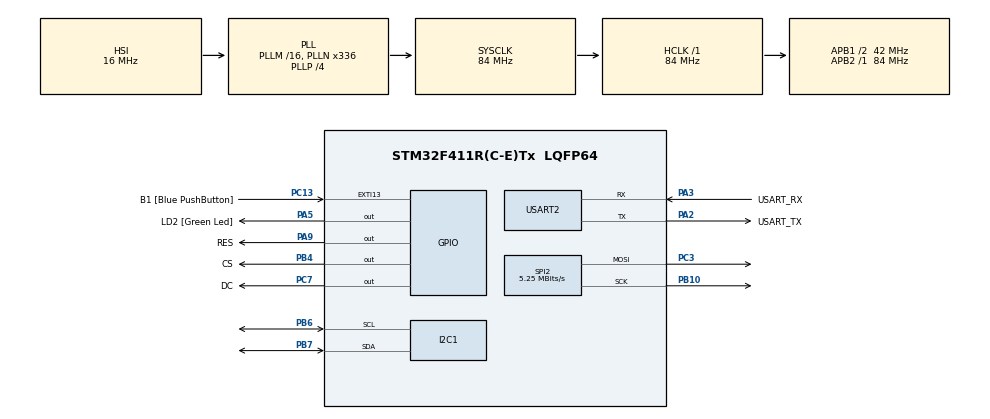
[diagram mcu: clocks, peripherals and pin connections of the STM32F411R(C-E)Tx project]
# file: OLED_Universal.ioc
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Dma.I2C1_TX.0.Direction=DMA_MEMORY_TO_PERIPH
Dma.I2C1_TX.0.FIFOMode=DMA_FIFOMODE_DISABLE
Dma.I2C1_TX.0.Instance=DMA1_Stream1
Dma.I2C1_TX.0.MemDataAlignment=DMA_MDATAALIGN_BYTE
Dma.I2C1_TX.0.MemInc=DMA_MINC_ENABLE
Dma.I2C1_TX.0.Mode=DMA_NORMAL
Dma.I2C1_TX.0.PeriphDataAlignment=DMA_PDATAALIGN_BYTE
Dma.I2C1_TX.0.PeriphInc=DMA_PINC_DISABLE
Dma.I2C1_TX.0.Priority=DMA_PRIORITY_LOW
Dma.Request0=I2C1_TX
Dma.Request1=SPI2_TX
Dma.SPI2_TX.1.Direction=DMA_MEMORY_TO_PERIPH
Dma.SPI2_TX.1.FIFOMode=DMA_FIFOMODE_DISABLE
Dma.SPI2_TX.1.Instance=DMA1_Stream4
Dma.SPI2_TX.1.MemDataAlignment=DMA_MDATAALIGN_BYTE
Dma.SPI2_TX.1.MemInc=DMA_MINC_ENABLE
Dma.SPI2_TX.1.Mode=DMA_NORMAL
Dma.SPI2_TX.1.PeriphDataAlignment=DMA_PDATAALIGN_BYTE
Dma.SPI2_TX.1.PeriphInc=DMA_PINC_DISABLE
Dma.SPI2_TX.1.Priority=DMA_PRIORITY_LOW
I2C1.I2C_Mode=I2C_Fast
Mcu.Family=STM32F4
Mcu.Name=STM32F411R(C-E)Tx
Mcu.Package=LQFP64
NVIC.DMA1_Stream1_IRQn=true\:0\:0\:false\:false\:true\:false\:true\:true
NVIC.DMA1_Stream4_IRQn=true\:0\:0\:false\:false\:true\:false\:true\:true
NVIC.I2C1_EV_IRQn=true\:0\:0\:false\:false\:true\:true\:true\:true
NVIC.PriorityGroup=NVIC_PRIORITYGROUP_0
NVIC.TIM2_IRQn=true\:0\:0\:false\:false\:true\:true\:true\:true
PA13.GPIO_Label=TMS
PA13.Mode=Serial_Wire
PA13.Signal=SYS_JTMS-SWDIO
PA14.GPIO_Label=TCK
PA14.Mode=Serial_Wire
PA14.Signal=SYS_JTCK-SWCLK
PA2.GPIO_Label=USART_TX
PA2.Mode=Asynchronous
PA2.Signal=USART2_TX
PA3.GPIO_Label=USART_RX
PA3.Mode=Asynchronous
PA3.Signal=USART2_RX
PA5.GPIO_Label=LD2 [Green Led]
PA5.Signal=GPIO_Output
PA9.GPIO_Label=RES
PA9.Signal=GPIO_Output
PB10.Mode=TX_Only_Simplex_Unidirect_Master
PB10.Signal=SPI2_SCK
PB3.GPIO_Label=SWO
PB3.Signal=SYS_JTDO-SWO
PB4.GPIO_Label=CS
PB4.Signal=GPIO_Output
PB6.Mode=I2C
PB6.Signal=I2C1_SCL
PB7.Mode=I2C
PB7.Signal=I2C1_SDA
PC13-ANTI_TAMP.GPIO_Label=B1 [Blue PushButton]
PC13-ANTI_TAMP.GPIO_ModeDefaultEXTI=GPIO_MODE_IT_FALLING
PC13-ANTI_TAMP.Signal=GPXTI13
PC14-OSC32_IN.Mode=LSE-External-Oscillator
PC14-OSC32_IN.Signal=RCC_OSC32_IN
PC15-OSC32_OUT.Mode=LSE-External-Oscillator
PC15-OSC32_OUT.Signal=RCC_OSC32_OUT
PC3.Mode=TX_Only_Simplex_Unidirect_Master
PC3.Signal=SPI2_MOSI
PC7.GPIO_Label=DC
PC7.Signal=GPIO_Output
PH0\ -\ OSC_IN.Mode=HSE-External-Clock-Source
PH0\ -\ OSC_IN.Signal=RCC_OSC_IN
PH1\ -\ OSC_OUT.Mode=HSE-External-Clock-Source
PH1\ -\ OSC_OUT.Signal=RCC_OSC_OUT
ProjectManager.HeapSize=0x200
ProjectManager.StackSize=0x400
ProjectManager.TargetToolchain=STM32CubeIDE
RCC.48MHZClocksFreq_Value=84000000
RCC.AHBFreq_Value=84000000
RCC.APB1CLKDivider=RCC_HCLK_DIV2
RCC.APB1Freq_Value=42000000
RCC.APB1TimFreq_Value=84000000
RCC.APB2Freq_Value=84000000
RCC.APB2TimFreq_Value=84000000
RCC.CortexFreq_Value=84000000
RCC.FLatency-AdvancedSettings=FLASH_LATENCY_2
RCC.HCLKFreq_Value=84000000
RCC.HSE_VALUE=8000000
RCC.HSI_VALUE=16000000
RCC.PLLN=336
RCC.PLLP=RCC_PLLP_DIV4
RCC.SYSCLKFreq_VALUE=84000000
RCC.SYSCLKSource=RCC_SYSCLKSOURCE_PLLCLK
RCC.VCOOutputFreq_Value=336000000
SPI2.BaudRatePrescaler=SPI_BAUDRATEPRESCALER_8
SPI2.CLKPhase=SPI_PHASE_2EDGE
SPI2.CLKPolarity=SPI_POLARITY_HIGH
SPI2.CRCCalculation=SPI_CRCCALCULATION_DISABLE
SPI2.CalculateBaudRate=5.25 MBits/s
SPI2.Direction=SPI_DIRECTION_2LINES
SPI2.Mode=SPI_MODE_MASTER
SPI2.VirtualType=VM_MASTER
TIM2.AutoReloadPreload=TIM_AUTORELOAD_PRELOAD_DISABLE
TIM2.Period=65535
TIM2.Prescaler=83
USART2.VirtualMode=VM_ASYNC
VP_TIM2_VS_ClockSourceINT.Mode=Internal
board=NUCLEO-F411RE

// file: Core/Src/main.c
/* USER CODE BEGIN Header */
/**
  ******************************************************************************
  * @file           : main.c
  * @brief          : Main program body
  ******************************************************************************
  * @attention
  *
  * Copyright (c) 2023 STMicroelectronics.
  * All rights reserved.
  *
  * This software is licensed under terms that can be found in the LICENSE file
  * in the root directory of this software component.
  * If no LICENSE file comes with this software, it is provided AS-IS.
  *
  ******************************************************************************
  */
/* USER CODE END Header */
#include "main.h"

/* USER CODE BEGIN Includes */
#include "oled_functions.h"
#include "oled_fonts.h"
#include "oled_bitmaps.h"
/* USER CODE END Includes */

I2C_HandleTypeDef hi2c1;
DMA_HandleTypeDef hdma_i2c1_tx;

SPI_HandleTypeDef hspi2;
DMA_HandleTypeDef hdma_spi2_tx;

TIM_HandleTypeDef htim2;

UART_HandleTypeDef huart2;

void SystemClock_Config(void);
static void MX_GPIO_Init(void);
static void MX_DMA_Init(void);
static void MX_USART2_UART_Init(void);
static void MX_I2C1_Init(void);
static void MX_SPI2_Init(void);
static void MX_TIM2_Init(void);

/* USER CODE BEGIN 0 */
//extern volatile uint8_t flag;
//char c22[20];
//uint16_t ff;
//void HAL_TIM_PeriodElapsedCallback(TIM_HandleTypeDef *htim) {
//
//	if (htim->Instance ==TIM2){
//		if (flag=0){
//			ff=read_TIM2();
//		}
//	}
//}
/* USER CODE END 0 */

int main(void)
{

  /* MCU Configuration--------------------------------------------------------*/

  /* Reset of all peripherals, Initializes the Flash interface and the Systick. */
  HAL_Init();

  /* Configure the system clock */
  SystemClock_Config();

  /* Initialize all configured peripherals */
  MX_GPIO_Init();
  MX_DMA_Init();
  MX_USART2_UART_Init();
  MX_I2C1_Init();
  MX_SPI2_Init();
  MX_TIM2_Init();
  /* USER CODE BEGIN 2 */
  OLED_Init();

  OLED_DrawBitmap(0, 0, &deagle_56x36, 56, 36, OLED_COLOR_WHITE);
  OLED_UpdateScreen();
  HAL_Delay(1000);
  OLED_Clear();
  OLED_UpdateScreen();
  // Testy prędkosci transmisji
  HAL_TIM_Base_Start(&htim2);
  char c[20];
  extern volatile uint8_t dmaTransferComplete;

  OLED_DrawLine(68, 60, 120, 60, OLED_COLOR_WHITE);
  OLED_Putstring(90, 50, "Line", &Arial8_8x10, OLED_COLOR_WHITE);
  OLED_UpdateScreen();

  for (int i = 0; i < 50; ++i) {
	  while (dmaTransferComplete==0){}
	  itoa(i,c,10);
	  OLED_Putstring(90, 30, c, &Arial8_8x10, OLED_COLOR_WHITE);
	  OLED_UpdateScreen();
  }

  for (int i = 0; i < 8; ++i) {
	  if (t1_buff_start[i]<t1_buff_end[i]) {
		  sprintf(c,"%lu\r", t1_buff_end[i]-t1_buff_start[i]);
		  HAL_UART_Transmit(&huart2, c, strlen(c), HAL_MAX_DELAY);
	}else{
		  sprintf(c,"%lu\r", 65535+t1_buff_end[i]-t1_buff_start[i]);
		  HAL_UART_Transmit(&huart2, c, strlen(c), HAL_MAX_DELAY);
	}
  }
  /* USER CODE END 2 */

  /* Infinite loop */
  while (1)
  {

  }
}

void SystemClock_Config(void)
{
  RCC_OscInitTypeDef RCC_OscInitStruct = {0};
  RCC_ClkInitTypeDef RCC_ClkInitStruct = {0};

  /** Configure the main internal regulator output voltage
  */
  __HAL_RCC_PWR_CLK_ENABLE();
  __HAL_PWR_VOLTAGESCALING_CONFIG(PWR_REGULATOR_VOLTAGE_SCALE1);

  /** Initializes the RCC Oscillators according to the specified parameters
  * in the RCC_OscInitTypeDef structure.
  */
  RCC_OscInitStruct.OscillatorType = RCC_OSCILLATORTYPE_HSI;
  RCC_OscInitStruct.HSIState = RCC_HSI_ON;
  RCC_OscInitStruct.HSICalibrationValue = RCC_HSICALIBRATION_DEFAULT;
  RCC_OscInitStruct.PLL.PLLState = RCC_PLL_ON;
  RCC_OscInitStruct.PLL.PLLSource = RCC_PLLSOURCE_HSI;
  RCC_OscInitStruct.PLL.PLLM = 16;
  RCC_OscInitStruct.PLL.PLLN = 336;
  RCC_OscInitStruct.PLL.PLLP = RCC_PLLP_DIV4;
  RCC_OscInitStruct.PLL.PLLQ = 4;
  if (HAL_RCC_OscConfig(&RCC_OscInitStruct) != HAL_OK)
  {
    Error_Handler();
  }

  /** Initializes the CPU, AHB and APB buses clocks
  */
  RCC_ClkInitStruct.ClockType = RCC_CLOCKTYPE_HCLK|RCC_CLOCKTYPE_SYSCLK
                              |RCC_CLOCKTYPE_PCLK1|RCC_CLOCKTYPE_PCLK2;
  RCC_ClkInitStruct.SYSCLKSource = RCC_SYSCLKSOURCE_PLLCLK;
  RCC_ClkInitStruct.AHBCLKDivider = RCC_SYSCLK_DIV1;
  RCC_ClkInitStruct.APB1CLKDivider = RCC_HCLK_DIV2;
  RCC_ClkInitStruct.APB2CLKDivider = RCC_HCLK_DIV1;

  if (HAL_RCC_ClockConfig(&RCC_ClkInitStruct, FLASH_LATENCY_2) != HAL_OK)
  {
    Error_Handler();
  }
}

static void MX_I2C1_Init(void)
{

  hi2c1.Instance = I2C1;
  hi2c1.Init.ClockSpeed = 400000;
  hi2c1.Init.DutyCycle = I2C_DUTYCYCLE_2;
  hi2c1.Init.OwnAddress1 = 0;
  hi2c1.Init.AddressingMode = I2C_ADDRESSINGMODE_7BIT;
  hi2c1.Init.DualAddressMode = I2C_DUALADDRESS_DISABLE;
  hi2c1.Init.OwnAddress2 = 0;
  hi2c1.Init.GeneralCallMode = I2C_GENERALCALL_DISABLE;
  hi2c1.Init.NoStretchMode = I2C_NOSTRETCH_DISABLE;
  if (HAL_I2C_Init(&hi2c1) != HAL_OK)
  {
    Error_Handler();
  }

}

static void MX_SPI2_Init(void)
{

  /* SPI2 parameter configuration*/
  hspi2.Instance = SPI2;
  hspi2.Init.Mode = SPI_MODE_MASTER;
  hspi2.Init.Direction = SPI_DIRECTION_2LINES;
  hspi2.Init.DataSize = SPI_DATASIZE_8BIT;
  hspi2.Init.CLKPolarity = SPI_POLARITY_HIGH;
  hspi2.Init.CLKPhase = SPI_PHASE_2EDGE;
  hspi2.Init.NSS = SPI_NSS_SOFT;
  hspi2.Init.BaudRatePrescaler = SPI_BAUDRATEPRESCALER_8;
  hspi2.Init.FirstBit = SPI_FIRSTBIT_MSB;
  hspi2.Init.TIMode = SPI_TIMODE_DISABLE;
  hspi2.Init.CRCCalculation = SPI_CRCCALCULATION_DISABLE;
  hspi2.Init.CRCPolynomial = 10;
  if (HAL_SPI_Init(&hspi2) != HAL_OK)
  {
    Error_Handler();
  }

}

static void MX_TIM2_Init(void)
{

  TIM_ClockConfigTypeDef sClockSourceConfig = {0};
  TIM_MasterConfigTypeDef sMasterConfig = {0};

  htim2.Instance = TIM2;
  htim2.Init.Prescaler = 83;
  htim2.Init.CounterMode = TIM_COUNTERMODE_UP;
  htim2.Init.Period = 65535;
  htim2.Init.ClockDivision = TIM_CLOCKDIVISION_DIV1;
  htim2.Init.AutoReloadPreload = TIM_AUTORELOAD_PRELOAD_DISABLE;
  if (HAL_TIM_Base_Init(&htim2) != HAL_OK)
  {
    Error_Handler();
  }
  sClockSourceConfig.ClockSource = TIM_CLOCKSOURCE_INTERNAL;
  if (HAL_TIM_ConfigClockSource(&htim2, &sClockSourceConfig) != HAL_OK)
  {
    Error_Handler();
  }
  sMasterConfig.MasterOutputTrigger = TIM_TRGO_RESET;
  sMasterConfig.MasterSlaveMode = TIM_MASTERSLAVEMODE_DISABLE;
  if (HAL_TIMEx_MasterConfigSynchronization(&htim2, &sMasterConfig) != HAL_OK)
  {
    Error_Handler();
  }

}

static void MX_USART2_UART_Init(void)
{

  huart2.Instance = USART2;
  huart2.Init.BaudRate = 115200;
  huart2.Init.WordLength = UART_WORDLENGTH_8B;
  huart2.Init.StopBits = UART_STOPBITS_1;
  huart2.Init.Parity = UART_PARITY_NONE;
  huart2.Init.Mode = UART_MODE_TX_RX;
  huart2.Init.HwFlowCtl = UART_HWCONTROL_NONE;
  huart2.Init.OverSampling = UART_OVERSAMPLING_16;
  if (HAL_UART_Init(&huart2) != HAL_OK)
  {
    Error_Handler();
  }

}

static void MX_DMA_Init(void)
{

  /* DMA controller clock enable */
  __HAL_RCC_DMA1_CLK_ENABLE();

  /* DMA interrupt init */
  /* DMA1_Stream1_IRQn interrupt configuration */
  HAL_NVIC_SetPriority(DMA1_Stream1_IRQn, 0, 0);
  HAL_NVIC_EnableIRQ(DMA1_Stream1_IRQn);
  /* DMA1_Stream4_IRQn interrupt configuration */
  HAL_NVIC_SetPriority(DMA1_Stream4_IRQn, 0, 0);
  HAL_NVIC_EnableIRQ(DMA1_Stream4_IRQn);

}

static void MX_GPIO_Init(void)
{
  GPIO_InitTypeDef GPIO_InitStruct = {0};

  /* GPIO Ports Clock Enable */
  __HAL_RCC_GPIOC_CLK_ENABLE();
  __HAL_RCC_GPIOH_CLK_ENABLE();
  __HAL_RCC_GPIOA_CLK_ENABLE();
  __HAL_RCC_GPIOB_CLK_ENABLE();

  /*Configure GPIO pin Output Level */
  HAL_GPIO_WritePin(GPIOA, LD2_Pin|RES_Pin, GPIO_PIN_RESET);

  /*Configure GPIO pin Output Level */
  HAL_GPIO_WritePin(DC_GPIO_Port, DC_Pin, GPIO_PIN_RESET);

  /*Configure GPIO pin Output Level */
  HAL_GPIO_WritePin(CS_GPIO_Port, CS_Pin, GPIO_PIN_RESET);

  /*Configure GPIO pin : B1_Pin */
  GPIO_InitStruct.Pin = B1_Pin;
  GPIO_InitStruct.Mode = GPIO_MODE_IT_FALLING;
  GPIO_InitStruct.Pull = GPIO_NOPULL;
  HAL_GPIO_Init(B1_GPIO_Port, &GPIO_InitStruct);

  /*Configure GPIO pins : LD2_Pin RES_Pin */
  GPIO_InitStruct.Pin = LD2_Pin|RES_Pin;
  GPIO_InitStruct.Mode = GPIO_MODE_OUTPUT_PP;
  GPIO_InitStruct.Pull = GPIO_NOPULL;
  GPIO_InitStruct.Speed = GPIO_SPEED_FREQ_LOW;
  HAL_GPIO_Init(GPIOA, &GPIO_InitStruct);

  /*Configure GPIO pin : DC_Pin */
  GPIO_InitStruct.Pin = DC_Pin;
  GPIO_InitStruct.Mode = GPIO_MODE_OUTPUT_PP;
  GPIO_InitStruct.Pull = GPIO_NOPULL;
  GPIO_InitStruct.Speed = GPIO_SPEED_FREQ_LOW;
  HAL_GPIO_Init(DC_GPIO_Port, &GPIO_InitStruct);

  /*Configure GPIO pin : CS_Pin */
  GPIO_InitStruct.Pin = CS_Pin;
  GPIO_InitStruct.Mode = GPIO_MODE_OUTPUT_PP;
  GPIO_InitStruct.Pull = GPIO_NOPULL;
  GPIO_InitStruct.Speed = GPIO_SPEED_FREQ_LOW;
  HAL_GPIO_Init(CS_GPIO_Port, &GPIO_InitStruct);

}

void Error_Handler(void)
{
  __disable_irq();
  while (1)
  {
  }
}
